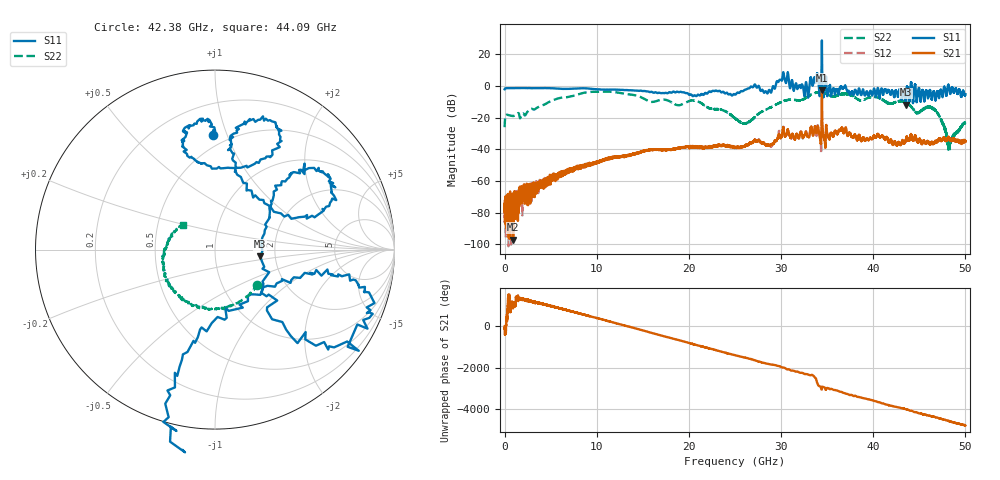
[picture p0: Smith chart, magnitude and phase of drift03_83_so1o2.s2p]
!Created with skrf (http://scikit-rf.org).
# Hz S RI R 50.0
!freq ReS11 ImS11 ReS21 ImS21 ReS12 ImS12 ReS22 ImS22
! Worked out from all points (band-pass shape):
!   10000 points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, 5.3 MHz to 50 GHz, reference 50 ohm
!   highest |S21| = -2.72 dB at 34.43 GHz (marker M1); lowest = -97.0 dB at 935.3 MHz (marker M2)
!   |S21| within 3 dB of the highest: 34.42755 GHz to 34.43482 GHz (7.264 MHz wide, 0.0211 % of centre)
!   lowest |S11| = -11.9 dB at 43.53 GHz (marker M3), VSWR 1.69, Z = 83.5 - j6.75 ohm
!   |S11| at or under -10 dB: 43.48459 GHz to 43.54377 GHz (59.18 MHz wide, 0.136 % of centre); 44.30967 GHz to 44.31848 GHz (8.813 MHz wide, 0.0199 % of centre); 44.3232 GHz to 44.32909 GHz (5.892 MHz wide, 0.0133 % of centre) (the widest 3 of 4)
!   |S22| runs from -41.6 to -3.6 dB; largest |S21 - S12| = 0.23
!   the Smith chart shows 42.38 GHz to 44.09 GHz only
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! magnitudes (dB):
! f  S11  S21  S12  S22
! 5.3 MHz  -2.1  -75.8  -73.7  -26.1
! 935.3 MHz  -1.4  -97.0  -76.5  -19.0
! 2.035 GHz  -1.3  -72.5  -72.9  -17.3
! 8.34 GHz  -1.5  -51.0  -50.4  -4.7
! 16.67 GHz  -4.4  -40.4  -40.2  -9.2
! 20.75 GHz  -6.3  -38.8  -38.6  -9.3
! 25.01 GHz  -5.5  -38.9  -38.8  -20.5
! 26.23 GHz  -2.2  -37.4  -37.5  -23.5
! 27.35 GHz  -1.0  -34.8  -35.0  -18.6
! 28.72 GHz  -2.5  -37.6  -37.3  -13.9
! 30.14 GHz  4.4  -29.5  -29.7  -9.9
! 32.74 GHz  2.0  -29.5  -29.3  -7.4
! 33.34 GHz  2.6  -27.5  -27.8  -5.2
! 33.82 GHz  4.0  -29.1  -29.5  -4.3
! 34.43 GHz  28.7  -2.7  -4.8  -3.9
! 36.48 GHz  -0.5  -28.0  -28.1  -5.3
! 41.67 GHz  -2.9  -35.4  -35.6  -10.8
! 43.53 GHz  -11.9  -34.5  -34.5  -10.2
! 44.76 GHz  -8.7  -34.8  -35.0  -17.2
! 46.69 GHz  -6.2  -35.4  -35.3  -15.1
! 48.25 GHz  -1.4  -33.1  -33.2  -39.7
! 50 GHz  -5.2  -35.1  -35.2  -23.2
